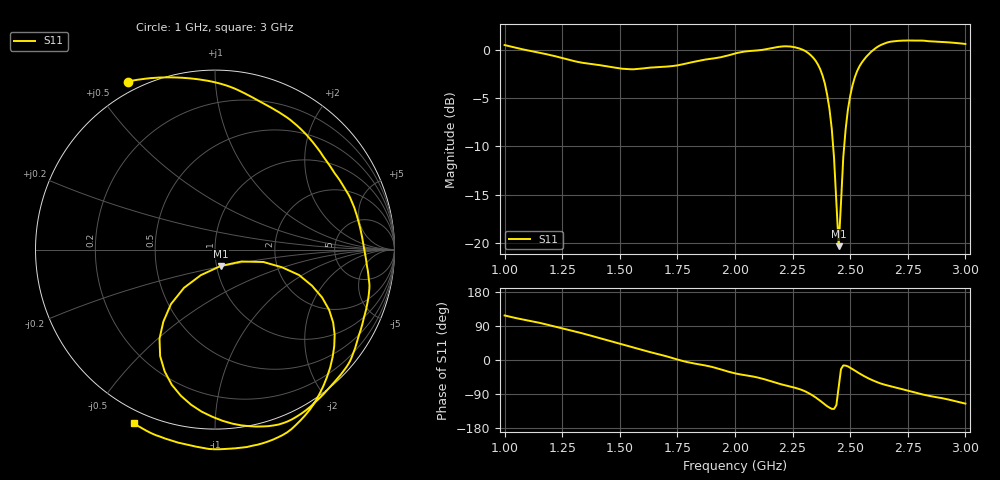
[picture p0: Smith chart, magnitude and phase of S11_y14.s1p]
!  07.03.2025  13:27:53
! Ref Plane: 0,000 mm
# MHZ S MA R  50
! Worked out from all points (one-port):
!   201 points, 1 GHz to 3 GHz, reference 50 ohm
!   lowest |S11| = -20.3 dB at 2.45 GHz (marker M1), VSWR 1.21, Z = 52.3 - j9.66 ohm
!   |S11| at or under -10 dB: 2.426 GHz to 2.474 GHz (47.94 MHz wide, 1.96 % of centre)
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1000  1.055 117.5
1140  0.9697 99.6
1250  0.9047 83.2
1390  0.8386 61.5
1500  0.8001 42.9
1630  0.8064 21.1
1750  0.8286 1.3
1880  0.8905 -15.5
2000  0.9548 -35.2
2110  0.9935 -47.9
2190  1.033 -62.3
2250  1.033 -71.6
2290  1.002 -79.0
2330  0.9317 -90.9
2360  0.8365 -103.1
2390  0.6675 -117.2
2420  0.39 -128.9
2430  0.2744 -129.1
2450  0.09663 -71.2
2470  0.2784 -14.3
2480  0.3858 -14.8
2500  0.5766 -20.4
2540  0.8182 -35.4
2620  1.035 -59.2
2670  1.095 -68.5
2750  1.114 -80.9
2900  1.095 -100.9
3000  1.069 -115.1
